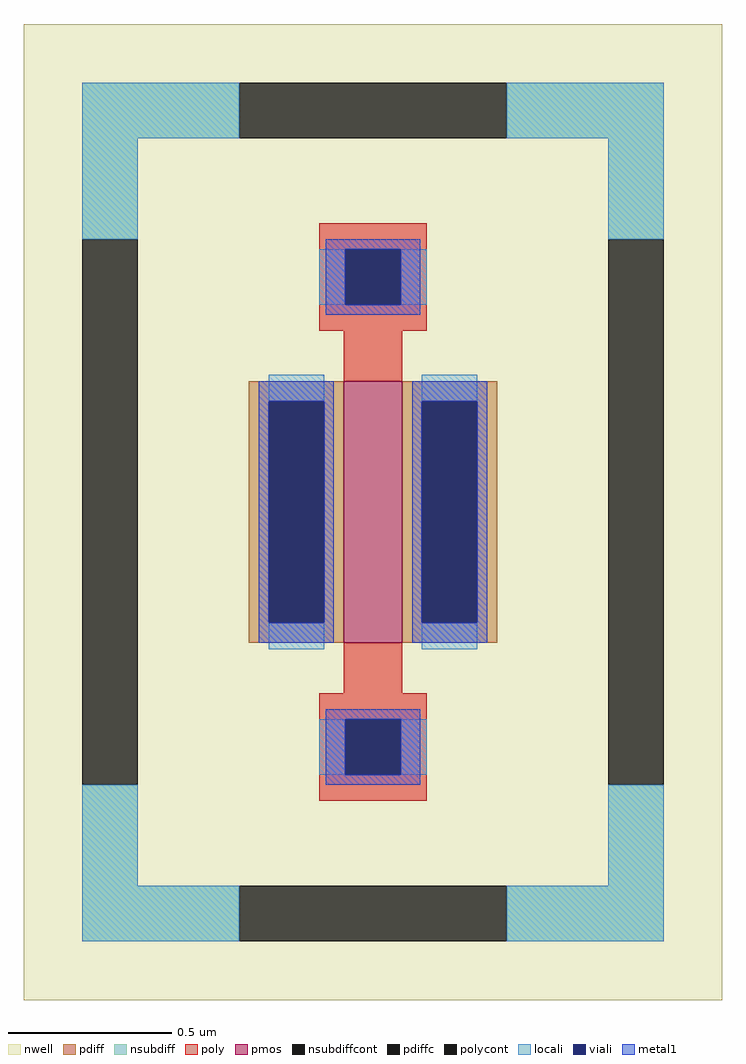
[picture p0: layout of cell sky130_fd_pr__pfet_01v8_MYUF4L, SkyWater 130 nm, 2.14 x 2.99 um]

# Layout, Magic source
magic
tech sky130A
magscale 1 2
<< nwell >>
rect -214 -299 214 299
<< pmos >>
rect -18 -80 18 80
<< pdiff >>
rect -76 68 -18 80
rect -76 -68 -64 68
rect -30 -68 -18 68
rect -76 -80 -18 -68
rect 18 68 76 80
rect 18 -68 30 68
rect 64 -68 76 68
rect 18 -80 76 -68
<< pdiffc >>
rect -64 -68 -30 68
rect 30 -68 64 68
<< nsubdiff >>
rect -178 229 -82 263
rect 82 229 178 263
rect -178 167 -144 229
rect 144 167 178 229
rect -178 -229 -144 -167
rect 144 -229 178 -167
rect -178 -263 -82 -229
rect 82 -263 178 -229
<< nsubdiffcont >>
rect -82 229 82 263
rect -178 -167 -144 167
rect 144 -167 178 167
rect -82 -263 82 -229
<< poly >>
rect -33 161 33 177
rect -33 127 -17 161
rect 17 127 33 161
rect -33 111 33 127
rect -18 80 18 111
rect -18 -111 18 -80
rect -33 -127 33 -111
rect -33 -161 -17 -127
rect 17 -161 33 -127
rect -33 -177 33 -161
<< polycont >>
rect -17 127 17 161
rect -17 -161 17 -127
<< locali >>
rect -178 229 -82 263
rect 82 229 178 263
rect -178 167 -144 229
rect 144 167 178 229
rect -33 127 -17 161
rect 17 127 33 161
rect -64 68 -30 84
rect -64 -84 -30 -68
rect 30 68 64 84
rect 30 -84 64 -68
rect -33 -161 -17 -127
rect 17 -161 33 -127
rect -178 -229 -144 -167
rect 144 -229 178 -167
rect -178 -263 -82 -229
rect 82 -263 178 -229
<< viali >>
rect -17 127 17 161
rect -64 -68 -30 68
rect 30 -68 64 68
rect -17 -161 17 -127
<< metal1 >>
rect -29 161 29 167
rect -29 127 -17 161
rect 17 127 29 161
rect -29 121 29 127
rect -70 68 -24 80
rect -70 -68 -64 68
rect -30 -68 -24 68
rect -70 -80 -24 -68
rect 24 68 70 80
rect 24 -68 30 68
rect 64 -68 70 68
rect 24 -80 70 -68
rect -29 -127 29 -121
rect -29 -161 -17 -127
rect 17 -161 29 -127
rect -29 -167 29 -161
<< properties >>
string FIXED_BBOX -161 -246 161 246
string gencell sky130_fd_pr__pfet_01v8
string library sky130
string parameters w 0.8 l 0.18 m 1 nf 1 diffcov 100 polycov 100 guard 1 glc 1 grc 1 gtc 1 gbc 1 tbcov 100 rlcov 100 topc 1 botc 1 poverlap 0 doverlap 1 lmin 0.15 wmin 0.42 compatible {sky130_fd_pr__pfet_01v8  sky130_fd_pr__pfet_01v8_lvt sky130_fd_pr__pfet_01v8_hvt  sky130_fd_pr__pfet_g5v0d10v5} full_metal 1 viasrc 100 viadrn 100 viagate 100 viagb 0 viagr 0 viagl 0 viagt 0
<< end >>
